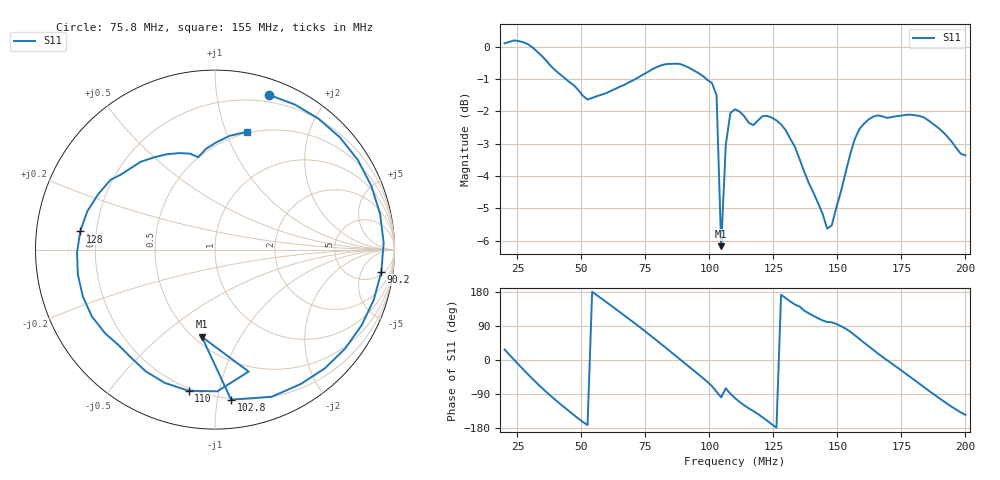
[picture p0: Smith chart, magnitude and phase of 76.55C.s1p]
# HZ S RI R 50
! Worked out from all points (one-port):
!   101 points, 20 MHz to 200 MHz, reference 50 ohm
!   lowest |S11| = -6.2 dB at 104.6 MHz (marker M1), VSWR 2.93, Z = 27.3 - j35 ohm
!   |S11| at or under -10 dB: nowhere
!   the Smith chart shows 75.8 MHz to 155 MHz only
!   S11 on the Smith chart (normalised r, x): 75.8 MHz: 0.13, +1.40; 90.2 MHz: 6, -12; 102.8 MHz: 0.19, -1.09; 110 MHz: 0.19, -0.81; 128 MHz: 0.14, +0.07; 155 MHz: 0.49, +1.19
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2e7  0.8957 0.4708
2.54e7  0.9994 -0.2062
3.26e7  0.4754 -0.861
3.8e7  -0.0749 -0.9309
4.34e7  -0.5157 -0.7308
4.88e7  -0.7729 -0.3697
5.42e7  -0.833 0.00126
6.5e7  -0.5144 0.6979
7.58e7  0.2985 0.863
8.3e7  0.7967 0.4981
8.84e7  0.9397 0.0377
9.02e7  0.9265 -0.1245
9.74e7  0.6118 -0.6618
1.028e8  0.0896 -0.836
1.046e8  -0.0734 -0.4858
1.064e8  0.1876 -0.6796
1.1e8  -0.1461 -0.7867
1.208e8  -0.6856 -0.3734
1.28e8  -0.751 0.1014
1.334e8  -0.5819 0.3887
1.46e8  -0.0939 0.5145
1.55e8  0.1807 0.6569
1.604e8  0.5305 0.5443
1.658e8  0.7475 0.2326
1.73e8  0.743 -0.2394
1.784e8  0.5602 -0.5499
1.874e8  0.00997 -0.7592
2e8  -0.5533 -0.3935
